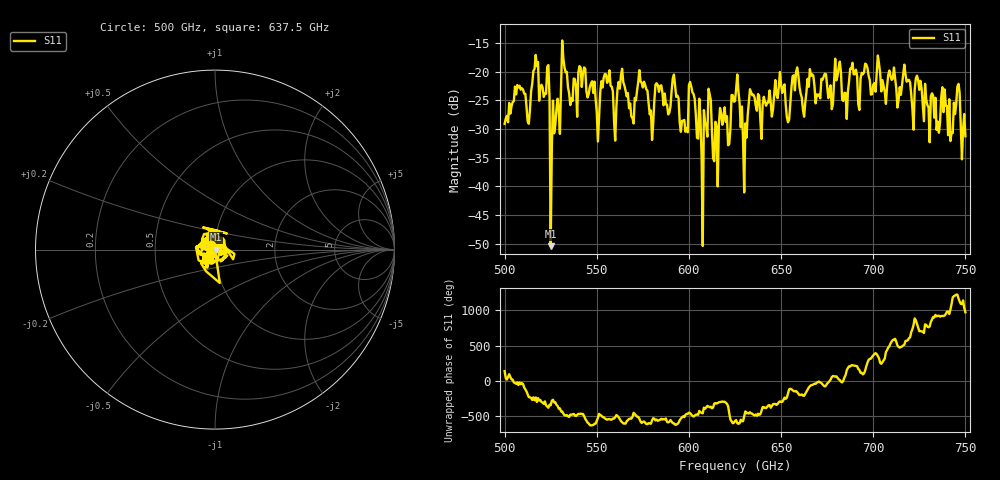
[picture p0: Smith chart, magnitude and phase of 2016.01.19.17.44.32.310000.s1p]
!Created with skrf (http://scikit-rf.org).
# GHz S RI R 50.0
!freq ReS11 ImS11
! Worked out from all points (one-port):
!   401 points, 500 GHz to 750 GHz, reference 50 ohm
!   lowest |S11| = -50.5 dB at 525 GHz (marker M1), VSWR 1.01, Z = 50.3 + j0.0353 ohm
!   |S11| at or under -10 dB: start of sweep to end of sweep
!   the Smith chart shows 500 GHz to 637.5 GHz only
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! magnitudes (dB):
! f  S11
! 500 GHz  -29.1
! 506.9 GHz  -22.3
! 513.1 GHz  -29.1
! 516.9 GHz  -17.1
! 523.1 GHz  -19.1
! 525 GHz  -50.5
! 526.2 GHz  -25.0
! 531.2 GHz  -14.5
! 550.6 GHz  -32.2
! 562.5 GHz  -23.0
! 568.8 GHz  -27.8
! 573.8 GHz  -21.7
! 579.4 GHz  -26.8
! 583.1 GHz  -22.3
! 593.8 GHz  -24.2
! 598.1 GHz  -30.5
! 601.2 GHz  -22.5
! 606.2 GHz  -28.1
! 611.2 GHz  -23.9
! 614.4 GHz  -28.7
! 625 GHz  -25.1
! 630.6 GHz  -29.0
! 633.8 GHz  -23.6
! 656.2 GHz  -20.8
! 687.5 GHz  -19.5
! 718.8 GHz  -21.5
! 745.6 GHz  -22.6
! 750 GHz  -31.3
